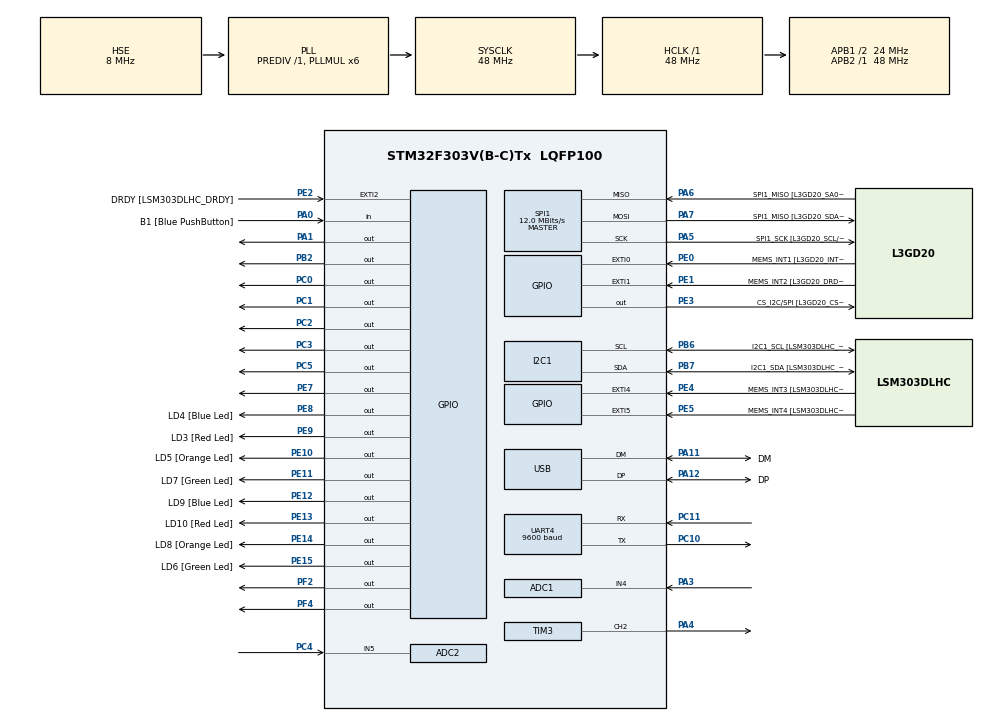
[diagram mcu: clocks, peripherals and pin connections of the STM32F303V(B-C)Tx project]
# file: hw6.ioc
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ADC1.Channel-0\#ChannelRegularConversion=ADC_CHANNEL_4
ADC1.NbrOfConversionFlag=1
ADC1.Offset-0\#ChannelRegularConversion=0
ADC1.OffsetNumber-0\#ChannelRegularConversion=ADC_OFFSET_NONE
ADC1.Rank-0\#ChannelRegularConversion=1
ADC1.SamplingTime-0\#ChannelRegularConversion=ADC_SAMPLETIME_601CYCLES_5
ADC1.SamplingTimeOPAMP-0\#ChannelRegularConversion=ADC_SAMPLETIME_19CYCLES_5
ADC1.master=1
ADC2.Channel-0\#ChannelRegularConversion=ADC_CHANNEL_5
ADC2.NbrOfConversionFlag=1
ADC2.Offset-0\#ChannelRegularConversion=0
ADC2.OffsetNumber-0\#ChannelRegularConversion=ADC_OFFSET_NONE
ADC2.Rank-0\#ChannelRegularConversion=1
ADC2.Resolution=ADC_RESOLUTION_10B
ADC2.SamplingTime-0\#ChannelRegularConversion=ADC_SAMPLETIME_601CYCLES_5
ADC2.SamplingTimeOPAMP-0\#ChannelRegularConversion=ADC_SAMPLETIME_19CYCLES_5
I2C1.Timing=0x2000090E
I2C1.Timing-I2C=0x2000090E
Mcu.Family=STM32F3
Mcu.Name=STM32F303V(B-C)Tx
Mcu.Package=LQFP100
NVIC.ADC1_2_IRQn=true\:0\:0\:false\:false\:true\:true\:true\:true
NVIC.PriorityGroup=NVIC_PRIORITYGROUP_0
NVIC.TIM2_IRQn=true\:0\:0\:false\:false\:true\:true\:true\:true
NVIC.UART4_IRQn=true\:0\:0\:false\:false\:true\:true\:true\:true
PA0.GPIO_Label=B1 [Blue PushButton]
PA0.Signal=GPIO_Input
PA1.Signal=GPIO_Output
PA11.GPIO_Label=DM
PA11.Mode=Device
PA11.Signal=USB_DM
PA12.GPIO_Label=DP
PA12.Mode=Device
PA12.Signal=USB_DP
PA13.GPIO_Label=SWDIO
PA13.Mode=Serial_Wire
PA13.Signal=SYS_JTMS-SWDIO
PA14.GPIO_Label=SWCLK
PA14.Mode=Serial_Wire
PA14.Signal=SYS_JTCK-SWCLK
PA3.Mode=IN4-Single-Ended
PA3.Signal=ADC1_IN4
PA4.Signal=S_TIM3_CH2
PA5.GPIO_Label=SPI1_SCK [L3GD20_SCL/SPC]
PA5.Mode=Full_Duplex_Master
PA5.Signal=SPI1_SCK
PA6.GPIO_Label=SPI1_MISO [L3GD20_SA0/SDO]
PA6.Mode=Full_Duplex_Master
PA6.Signal=SPI1_MISO
PA7.GPIO_Label=SPI1_MISO [L3GD20_SDA/SDI/SDO]
PA7.Mode=Full_Duplex_Master
PA7.Signal=SPI1_MOSI
PB2.Signal=GPIO_Output
PB3.GPIO_Label=SWO
PB3.Signal=SYS_JTDO-TRACESWO
PB6.GPIO_Label=I2C1_SCL [LSM303DLHC_SCL]
PB6.GPIO_Pu=GPIO_PULLUP
PB6.Mode=I2C
PB6.Signal=I2C1_SCL
PB7.GPIO_Label=I2C1_SDA [LSM303DLHC_SDA]
PB7.GPIO_Pu=GPIO_PULLUP
PB7.Mode=I2C
PB7.Signal=I2C1_SDA
PC0.Signal=GPIO_Output
PC1.Signal=GPIO_Output
PC10.Mode=Asynchronous
PC10.Signal=UART4_TX
PC11.Mode=Asynchronous
PC11.Signal=UART4_RX
PC14-OSC32_IN.GPIO_Label=OSC32_IN
PC14-OSC32_IN.Signal=RCC_OSC32_IN
PC15-OSC32_OUT.GPIO_Label=OSC32_OUT
PC15-OSC32_OUT.Signal=RCC_OSC32_OUT
PC2.Signal=GPIO_Output
PC3.Signal=GPIO_Output
PC4.Mode=IN5-Single-Ended
PC4.Signal=ADC2_IN5
PC5.Signal=GPIO_Output
PE0.GPIO_Label=MEMS_INT1 [L3GD20_INT1]
PE0.GPIO_ModeDefaultEXTI=GPIO_MODE_EVT_RISING
PE0.Signal=GPXTI0
PE1.GPIO_Label=MEMS_INT2 [L3GD20_DRDY/INT2]
PE1.GPIO_ModeDefaultEXTI=GPIO_MODE_EVT_RISING
PE1.Signal=GPXTI1
PE10.GPIO_Label=LD5 [Orange Led]
PE10.Signal=GPIO_Output
PE11.GPIO_Label=LD7 [Green Led]
PE11.Signal=GPIO_Output
PE12.GPIO_Label=LD9 [Blue Led]
PE12.Signal=GPIO_Output
PE13.GPIO_Label=LD10 [Red Led]
PE13.Signal=GPIO_Output
PE14.GPIO_Label=LD8 [Orange Led]
PE14.Signal=GPIO_Output
PE15.GPIO_Label=LD6 [Green Led]
PE15.Signal=GPIO_Output
PE2.GPIO_Label=DRDY [LSM303DLHC_DRDY]
PE2.GPIO_ModeDefaultEXTI=GPIO_MODE_EVT_RISING
PE2.Signal=GPXTI2
PE3.GPIO_Label=CS_I2C/SPI [L3GD20_CS_I2C/SPI]
PE3.Signal=GPIO_Output
PE4.GPIO_Label=MEMS_INT3 [LSM303DLHC_INT1]
PE4.GPIO_ModeDefaultEXTI=GPIO_MODE_EVT_RISING
PE4.Signal=GPXTI4
PE5.GPIO_Label=MEMS_INT4 [LSM303DLHC_INT2]
PE5.GPIO_ModeDefaultEXTI=GPIO_MODE_EVT_RISING
PE5.Signal=GPXTI5
PE7.Signal=GPIO_Output
PE8.GPIO_Label=LD4 [Blue Led]
PE8.Signal=GPIO_Output
PE9.GPIO_Label=LD3 [Red Led]
PE9.Signal=GPIO_Output
PF0-OSC_IN.GPIO_Label=OSC_IN
PF0-OSC_IN.Mode=HSE-External-Clock-Source
PF0-OSC_IN.Signal=RCC_OSC_IN
PF1-OSC_OUT.GPIO_Label=OSC_OUT
PF1-OSC_OUT.Signal=RCC_OSC_OUT
PF2.Signal=GPIO_Output
PF4.Signal=GPIO_Output
ProjectManager.HeapSize=0x200
ProjectManager.StackSize=0x400
ProjectManager.TargetToolchain=STM32CubeIDE
RCC.AHBFreq_Value=48000000
RCC.APB1CLKDivider=RCC_HCLK_DIV2
RCC.APB1Freq_Value=24000000
RCC.APB1TimFreq_Value=48000000
RCC.APB2Freq_Value=48000000
RCC.APB2TimFreq_Value=48000000
RCC.CortexFreq_Value=48000000
RCC.HCLKFreq_Value=48000000
RCC.HSE_VALUE=8000000
RCC.HSI_VALUE=8000000
RCC.LSE_VALUE=32768
RCC.PLLMUL=RCC_PLL_MUL6
RCC.SYSCLKFreq_VALUE=48000000
RCC.SYSCLKSourceVirtual=RCC_SYSCLKSOURCE_PLLCLK
RCC.USBFreq_Value=48000000
SH.S_TIM3_CH2.0=TIM3_CH2,PWM Generation2 CH2
SPI1.BaudRatePrescaler=SPI_BAUDRATEPRESCALER_4
SPI1.BaudRatePrescaler-Full_Duplex_Master=SPI_BAUDRATEPRESCALER_2
SPI1.CalculateBaudRate=12.0 MBits/s
SPI1.CalculateBaudRate-Full_Duplex_Master=24.0 MBits/s
SPI1.Direction=SPI_DIRECTION_2LINES
SPI1.Mode=SPI_MODE_MASTER
SPI1.Mode-Full_Duplex_Master=SPI_MODE_MASTER
SPI1.VirtualType=VM_MASTER
TIM2.Period=99
TIM2.Prescaler=199
TIM3.Channel-PWM\ Generation2\ CH2=TIM_CHANNEL_2
UART4.BaudRate=9600
VP_TIM2_VS_ClockSourceINT.Mode=Internal
VP_TIM3_VS_ClockSourceINT.Mode=Internal
board=STM32F3DISCOVERY

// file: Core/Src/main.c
/* USER CODE BEGIN Header */
/**
  ******************************************************************************
  * @file           : main.c
  * @brief          : Main program body
  ******************************************************************************
  * @attention
  *
  * Copyright (c) 2023 STMicroelectronics.
  * All rights reserved.
  *
  * This software is licensed under terms that can be found in the LICENSE file
  * in the root directory of this software component.
  * If no LICENSE file comes with this software, it is provided AS-IS.
  *
  ******************************************************************************
  */
/* USER CODE END Header */
#include "main.h"

/* USER CODE BEGIN Includes */
#include "string.h"
#include "math.h"
/* USER CODE END Includes */

ADC_HandleTypeDef hadc1;
ADC_HandleTypeDef hadc2;

I2C_HandleTypeDef hi2c1;

SPI_HandleTypeDef hspi1;

TIM_HandleTypeDef htim2;
TIM_HandleTypeDef htim3;

UART_HandleTypeDef huart4;

PCD_HandleTypeDef hpcd_USB_FS;

/* USER CODE BEGIN PV */
#define NUM_SAMPLES 10
int ms=0;
int sendMS=1000;
int count=0;
uint8_t keyboard_char;

int counter = 0;
unsigned char Rx_data[100];
uint8_t rxBuffer[1] = {0};

uint16_t note_frequency;
TIM_HandleTypeDef *buzzerPwmTimer;
uint32_t buzzerPwmChannel;
uint16_t v2=5;

uint16_t ldr_value = 0;
float lm35_value = 0.0;
int min_ldr=0;
int  max_ldr=4095;
int ldr_show=0;
int lm35_show=0;

int ldr_treshold;
int lm_treshold;

int kind;
int freqMin=900;
int freqMax;
int musicTime=3;
double PI=3.14;
int song=0;
int value;
double amplitude;
double sampling_rate = 100.0;
int temp=3;
double phase = 0.0;
double time_step;
int start=0;
int samplesldr[NUM_SAMPLES];
int sampcountldr=0;
int sampleslm[NUM_SAMPLES];
int sampcountlm=0;
/* USER CODE END PV */

void SystemClock_Config(void);
static void MX_GPIO_Init(void);
static void MX_I2C1_Init(void);
static void MX_SPI1_Init(void);
static void MX_USB_PCD_Init(void);
static void MX_TIM2_Init(void);
static void MX_UART4_Init(void);
static void MX_ADC1_Init(void);
static void MX_ADC2_Init(void);
static void MX_TIM3_Init(void);

/* USER CODE BEGIN 0 */

//buzzerChangeTone(0, 0); for stop playing when a condition meets

int normalize(int value, int* samples) {
    int sum = 0;
    int i;

    for (i = NUM_SAMPLES - 1; i > 0; i--) {
        samples[i] = samples[i - 1];
        sum += samples[i];
    }
    samples[0] = value;
    sum += value;
    int avg = sum / NUM_SAMPLES;
    int variance = 0;
    for (i = 0; i < NUM_SAMPLES; i++) {
        variance += (samples[i] - avg) * (samples[i] - avg);
    }
    int stddev = sqrt(variance / NUM_SAMPLES);
    if (abs(value - avg) > stddev) {
        return avg;
    }
    return value;
}
void buzzerInit() {
    buzzerPwmTimer = &htim3;
    buzzerPwmChannel = TIM_CHANNEL_2;
    HAL_TIM_PWM_Start(buzzerPwmTimer, buzzerPwmChannel);
}

void buzzerChangeTone(uint16_t freq, uint16_t volume) {
    if (freq == 0 || freq > 20000) {
        __HAL_TIM_SET_COMPARE(buzzerPwmTimer, buzzerPwmChannel, 0);
    } else {
        const uint32_t internalClockFreq = HAL_RCC_GetSysClockFreq();
        const uint32_t prescaler = 1 + internalClockFreq / freq / 60000;
        const uint32_t timerClock = internalClockFreq / prescaler;
        const uint32_t periodCycles = timerClock / freq;
        const uint32_t pulseWidth = volume * periodCycles / 1000 / 2;

        buzzerPwmTimer->Instance->PSC = prescaler - 1;
        buzzerPwmTimer->Instance->ARR = periodCycles - 1;
        buzzerPwmTimer->Instance->EGR = TIM_EGR_UG;

        __HAL_TIM_SET_COMPARE(buzzerPwmTimer, buzzerPwmChannel, pulseWidth);
    }
}

void decoder_num(int i){
	if(i>=10)
		i=0;
	int x1=i&1;
	int x2=i&2;
	int x3=i&4;
	int x4=i&8;
	if(x1>0)
			x1=1;
	if(x2>0)
			x2=1;
	if(x3>0)
			x3=1;
	if(x4>0)
			x4=1;

	HAL_GPIO_WritePin(GPIOC, GPIO_PIN_0, x1);
	HAL_GPIO_WritePin(GPIOC, GPIO_PIN_3, x2);
	HAL_GPIO_WritePin(GPIOC, GPIO_PIN_1, x3);
	HAL_GPIO_WritePin(GPIOC, GPIO_PIN_2, x4);
}

void HAL_TIM_PeriodElapsedCallback(TIM_HandleTypeDef *htim){
	 if(htim->Instance == TIM2){  // each 0.125 ms one interrupt
		 ms++;
		 if((ms%(8*sendMS))==0){
			 HAL_ADC_Start_IT(&hadc1);  //ldr
			 HAL_ADC_Start_IT(&hadc2);  //lm35
		 }

		 switch(ms%4){
		 			case 0:
		 				HAL_GPIO_WritePin(GPIOC, GPIO_PIN_5,1);//d4
		 		  		HAL_GPIO_WritePin(GPIOF, GPIO_PIN_2, 0);
		 		  		HAL_GPIO_WritePin(GPIOA, GPIO_PIN_1, 0);
		 		  		HAL_GPIO_WritePin(GPIOF, GPIO_PIN_4, 0);
		 		  		decoder_num(ldr_show%10);

		 		  		break;
		 			case 1:
		 				HAL_GPIO_WritePin(GPIOF, GPIO_PIN_2, 1);//d3
		 				HAL_GPIO_WritePin(GPIOC, GPIO_PIN_5, 0);
		 				HAL_GPIO_WritePin(GPIOA, GPIO_PIN_1, 0);
		 				HAL_GPIO_WritePin(GPIOF, GPIO_PIN_4, 0);
		 				decoder_num(ldr_show/10);

		 				break;
		 			case 2:
		 				HAL_GPIO_WritePin(GPIOC, GPIO_PIN_5, 0);
		 			 	HAL_GPIO_WritePin(GPIOF, GPIO_PIN_4, 0);
		 			 	HAL_GPIO_WritePin(GPIOA, GPIO_PIN_1, 1); //d2
		 			 	HAL_GPIO_WritePin(GPIOF, GPIO_PIN_2, 0);
		 			 	decoder_num(lm35_show%10);

		 				break;
		 			case 3:
		 				HAL_GPIO_WritePin(GPIOC, GPIO_PIN_5, 0);
		 				HAL_GPIO_WritePin(GPIOF, GPIO_PIN_2, 0);
		 				HAL_GPIO_WritePin(GPIOA, GPIO_PIN_1, 0);
		 				HAL_GPIO_WritePin(GPIOF, GPIO_PIN_4, 1); //d1
		 				decoder_num(lm35_show/10);

		 				break;
		 			}
		 if((ms%100)==0){
		 if(song==1){
			 if(count<(musicTime*100)){
				 count++;
			 }else {
				song=0;
				count=0;
				HAL_GPIO_WritePin(GPIOE, GPIO_PIN_8, 0);
				HAL_GPIO_WritePin(GPIOE, GPIO_PIN_9, 0);
				HAL_GPIO_WritePin(GPIOE, GPIO_PIN_10, 0);
			}

		 }
		}
		 if(ms%60==0){
			 if(song==1){
				 buzzerChangeTone(note_frequency, v2);
			 }else{
				 buzzerChangeTone(0,0);
			 }

		 }

		if(ms%100==0){
			if(kind==1){
			if(start==1){
										 			 HAL_GPIO_WritePin(GPIOE, GPIO_PIN_10, 1);
										 			 note_frequency=freqMin;
										 			 start=0;

										 		}
										 		else{
										 			if(temp%30==0){
										 				if(note_frequency==freqMax)
										 					note_frequency=freqMin;
										 				else {
										 					note_frequency=freqMax;
										 				}

										 			}
										 			temp++;

										 		}
			}else if(kind==3){  //sin
				 if(start==1){
					 HAL_GPIO_WritePin(GPIOE, GPIO_PIN_9, 1);
				 		note_frequency=freqMin;
				 		 start=0;
				 		}else {

				 			note_frequency=190 * sin(2*PI/3800*ms)+300;

				 		}

			 	}
		}

		if(ms%2000==0){
			 if(kind==2){  //triangle
								 if(start==1){
									 HAL_GPIO_WritePin(GPIOE, GPIO_PIN_8, 1);
									 note_frequency=freqMin;
									 start=0;
								 }else {
									 note_frequency+=100;
									 if(note_frequency>=freqMax)
											note_frequency=freqMin;

								}
							 	}

		}

	}

}
void HAL_ADC_ConvCpltCallback(ADC_HandleTypeDef *hadc){
	if(hadc->Instance==ADC1){
		ldr_value=HAL_ADC_GetValue(&hadc1);
		ldr_show=(ldr_value - min_ldr)*99 / (max_ldr - min_ldr);
		sampcountldr++;
		samplesldr[sampcountldr]=ldr_show;
		if(sampcountldr>NUM_SAMPLES){
			sampcountldr=0;
		}
		ldr_show=normalize(ldr_show, samplesldr);
		  uint8_t pack_ldr[8];
		  pack_ldr[0]=0xAA;
		  pack_ldr[1]=0x01;
		  pack_ldr[2]=0x02;
		  pack_ldr[3]=0x02;
		  uint8_t ldr_uint=(uint8_t)ldr_show;
		  int length=sizeof(ldr_uint);
		  pack_ldr[4]=0x21;
		  pack_ldr[5]=ldr_uint;
		  pack_ldr[7]=0x00;
		  HAL_UART_Transmit(&huart4, pack_ldr, sizeof(pack_ldr), HAL_MAX_DELAY);

	}
	if(hadc->Instance==ADC2){  //lm35
		lm35_value=HAL_ADC_GetValue(&hadc2);
		float Voltage_mv = lm35_value * 3300 / 1023;
		lm35_show = (Voltage_mv / 10);

		sampcountlm++;
				sampleslm[sampcountlm]=lm35_show;
				if(sampcountlm>NUM_SAMPLES){
					sampcountlm=0;
				}
				lm35_show=normalize(lm35_show, sampleslm);

		uint8_t pack_lm[8];
	    pack_lm[0]=0xAA;
	    pack_lm[1]=0x01;
	    pack_lm[2]=0x02;
	    pack_lm[3]=0x02;
	    uint8_t lm_uint=(uint8_t)lm35_show;
	    int length=sizeof(lm_uint);
	    pack_lm[4]=0x22;
	    pack_lm[5]=lm_uint;
		pack_lm[7]=0x00;
		HAL_UART_Transmit(&huart4, pack_lm, sizeof(pack_lm), HAL_MAX_DELAY);
//
//		char buffer[50];
//		sprintf(buffer, "%d\r\n", lm35_value); // Convert float to string
//		HAL_UART_Transmit(&huart4, (uint8_t*)buffer, strlen(buffer), 1000);

	}
}
void HAL_UART_RxCpltCallback(UART_HandleTypeDef *huart)
{
	if (huart->Instance == UART4){
//		if(note_frequency!=0){
//			    	buzzerChangeTone(note_frequency, v2);
//			    }

		Rx_data[counter] = rxBuffer[0];
			if (Rx_data[counter] == 0xAA) {
				Rx_data[counter]='\0';
				counter = 0;
				choosePacket();
				Rx_data[counter] = rxBuffer[0];
			} else {
				counter++;
			}
			HAL_UART_Receive_IT(&huart4, rxBuffer, 1);
	}

}

void choosePacket(){
	switch(Rx_data[3]){
	case 0x41:
		lm_treshold=(int)Rx_data[4];
		//buzer bips if lm>tre
//		if(lm_treshold>0){
//					HAL_GPIO_TogglePin(GPIOE, GPIO_PIN_8);
//				}
//		if(lm35_show>0){
//							HAL_GPIO_TogglePin(GPIOE, GPIO_PIN_9);
//						}
		if(lm35_show>=lm_treshold){
			song=1;
			start=1;
			count=0;
		}

		break;
	case 0x42:
		ldr_treshold=(int)Rx_data[4];
//		if(ldr_treshold>0){
//					HAL_GPIO_TogglePin(GPIOE, GPIO_PIN_11);
//		}
//		if(ldr_show>0){
//							HAL_GPIO_TogglePin(GPIOE, GPIO_PIN_12);
//				}
		if(ldr_show>=ldr_treshold){
			song=1;
			start=1;
			count=0;
		}
		break;
	case 0x11:
		switch(Rx_data[4]){
			case 0x31:kind=1;// square
				break;
			case 0x32:
				kind=2;// triangle
				break;
			case 0x33:
					kind=3;// sin
					break;

		}
		freqMin=(int)Rx_data[5];
		freqMax=(int)Rx_data[6];
		break;
	}
}

/* USER CODE END 0 */

int main(void)
{

  /* MCU Configuration--------------------------------------------------------*/

  /* Reset of all peripherals, Initializes the Flash interface and the Systick. */
  HAL_Init();

  /* Configure the system clock */
  SystemClock_Config();

  /* Initialize all configured peripherals */
  MX_GPIO_Init();
  MX_I2C1_Init();
  MX_SPI1_Init();
  MX_USB_PCD_Init();
  MX_TIM2_Init();
  MX_UART4_Init();
  MX_ADC1_Init();
  MX_ADC2_Init();
  MX_TIM3_Init();
  /* USER CODE BEGIN 2 */
  buzzerInit();
  HAL_TIM_Base_Start_IT(&htim2);
  HAL_TIM_Base_Start_IT(&htim3);
  HAL_UART_Receive_IT(&huart4, rxBuffer, 1); // enable UART interrupt
 // HAL_UART_Receive_IT(&huart4, &keyboard_char,sizeof(keyboard_char)); // enable UART interrupt again

  /* USER CODE END 2 */

  /* Infinite loop */
  while (1)
  {

  }
}

void SystemClock_Config(void)
{
  RCC_OscInitTypeDef RCC_OscInitStruct = {0};
  RCC_ClkInitTypeDef RCC_ClkInitStruct = {0};
  RCC_PeriphCLKInitTypeDef PeriphClkInit = {0};

  /** Initializes the RCC Oscillators according to the specified parameters
  * in the RCC_OscInitTypeDef structure.
  */
  RCC_OscInitStruct.OscillatorType = RCC_OSCILLATORTYPE_HSI|RCC_OSCILLATORTYPE_HSE;
  RCC_OscInitStruct.HSEState = RCC_HSE_BYPASS;
  RCC_OscInitStruct.HSEPredivValue = RCC_HSE_PREDIV_DIV1;
  RCC_OscInitStruct.HSIState = RCC_HSI_ON;
  RCC_OscInitStruct.HSICalibrationValue = RCC_HSICALIBRATION_DEFAULT;
  RCC_OscInitStruct.PLL.PLLState = RCC_PLL_ON;
  RCC_OscInitStruct.PLL.PLLSource = RCC_PLLSOURCE_HSE;
  RCC_OscInitStruct.PLL.PLLMUL = RCC_PLL_MUL6;
  if (HAL_RCC_OscConfig(&RCC_OscInitStruct) != HAL_OK)
  {
    Error_Handler();
  }

  /** Initializes the CPU, AHB and APB buses clocks
  */
  RCC_ClkInitStruct.ClockType = RCC_CLOCKTYPE_HCLK|RCC_CLOCKTYPE_SYSCLK
                              |RCC_CLOCKTYPE_PCLK1|RCC_CLOCKTYPE_PCLK2;
  RCC_ClkInitStruct.SYSCLKSource = RCC_SYSCLKSOURCE_PLLCLK;
  RCC_ClkInitStruct.AHBCLKDivider = RCC_SYSCLK_DIV1;
  RCC_ClkInitStruct.APB1CLKDivider = RCC_HCLK_DIV2;
  RCC_ClkInitStruct.APB2CLKDivider = RCC_HCLK_DIV1;

  if (HAL_RCC_ClockConfig(&RCC_ClkInitStruct, FLASH_LATENCY_1) != HAL_OK)
  {
    Error_Handler();
  }
  PeriphClkInit.PeriphClockSelection = RCC_PERIPHCLK_USB|RCC_PERIPHCLK_UART4
                              |RCC_PERIPHCLK_I2C1|RCC_PERIPHCLK_ADC12;
  PeriphClkInit.Uart4ClockSelection = RCC_UART4CLKSOURCE_PCLK1;
  PeriphClkInit.Adc12ClockSelection = RCC_ADC12PLLCLK_DIV1;
  PeriphClkInit.I2c1ClockSelection = RCC_I2C1CLKSOURCE_HSI;
  PeriphClkInit.USBClockSelection = RCC_USBCLKSOURCE_PLL;
  if (HAL_RCCEx_PeriphCLKConfig(&PeriphClkInit) != HAL_OK)
  {
    Error_Handler();
  }
}

static void MX_ADC1_Init(void)
{

  ADC_MultiModeTypeDef multimode = {0};
  ADC_ChannelConfTypeDef sConfig = {0};

  /** Common config
  */
  hadc1.Instance = ADC1;
  hadc1.Init.ClockPrescaler = ADC_CLOCK_ASYNC_DIV1;
  hadc1.Init.Resolution = ADC_RESOLUTION_12B;
  hadc1.Init.ScanConvMode = ADC_SCAN_DISABLE;
  hadc1.Init.ContinuousConvMode = DISABLE;
  hadc1.Init.DiscontinuousConvMode = DISABLE;
  hadc1.Init.ExternalTrigConvEdge = ADC_EXTERNALTRIGCONVEDGE_NONE;
  hadc1.Init.ExternalTrigConv = ADC_SOFTWARE_START;
  hadc1.Init.DataAlign = ADC_DATAALIGN_RIGHT;
  hadc1.Init.NbrOfConversion = 1;
  hadc1.Init.DMAContinuousRequests = DISABLE;
  hadc1.Init.EOCSelection = ADC_EOC_SINGLE_CONV;
  hadc1.Init.LowPowerAutoWait = DISABLE;
  hadc1.Init.Overrun = ADC_OVR_DATA_OVERWRITTEN;
  if (HAL_ADC_Init(&hadc1) != HAL_OK)
  {
    Error_Handler();
  }

  /** Configure the ADC multi-mode
  */
  multimode.Mode = ADC_MODE_INDEPENDENT;
  if (HAL_ADCEx_MultiModeConfigChannel(&hadc1, &multimode) != HAL_OK)
  {
    Error_Handler();
  }

  /** Configure Regular Channel
  */
  sConfig.Channel = ADC_CHANNEL_4;
  sConfig.Rank = ADC_REGULAR_RANK_1;
  sConfig.SingleDiff = ADC_SINGLE_ENDED;
  sConfig.SamplingTime = ADC_SAMPLETIME_601CYCLES_5;
  sConfig.OffsetNumber = ADC_OFFSET_NONE;
  sConfig.Offset = 0;
  if (HAL_ADC_ConfigChannel(&hadc1, &sConfig) != HAL_OK)
  {
    Error_Handler();
  }

}

static void MX_ADC2_Init(void)
{

  ADC_ChannelConfTypeDef sConfig = {0};

  /** Common config
  */
  hadc2.Instance = ADC2;
  hadc2.Init.ClockPrescaler = ADC_CLOCK_ASYNC_DIV1;
  hadc2.Init.Resolution = ADC_RESOLUTION_10B;
  hadc2.Init.ScanConvMode = ADC_SCAN_DISABLE;
  hadc2.Init.ContinuousConvMode = DISABLE;
  hadc2.Init.DiscontinuousConvMode = DISABLE;
  hadc2.Init.ExternalTrigConvEdge = ADC_EXTERNALTRIGCONVEDGE_NONE;
  hadc2.Init.ExternalTrigConv = ADC_SOFTWARE_START;
  hadc2.Init.DataAlign = ADC_DATAALIGN_RIGHT;
  hadc2.Init.NbrOfConversion = 1;
  hadc2.Init.DMAContinuousRequests = DISABLE;
  hadc2.Init.EOCSelection = ADC_EOC_SINGLE_CONV;
  hadc2.Init.LowPowerAutoWait = DISABLE;
  hadc2.Init.Overrun = ADC_OVR_DATA_OVERWRITTEN;
  if (HAL_ADC_Init(&hadc2) != HAL_OK)
  {
    Error_Handler();
  }

  /** Configure Regular Channel
  */
  sConfig.Channel = ADC_CHANNEL_5;
  sConfig.Rank = ADC_REGULAR_RANK_1;
  sConfig.SingleDiff = ADC_SINGLE_ENDED;
  sConfig.SamplingTime = ADC_SAMPLETIME_601CYCLES_5;
  sConfig.OffsetNumber = ADC_OFFSET_NONE;
  sConfig.Offset = 0;
  if (HAL_ADC_ConfigChannel(&hadc2, &sConfig) != HAL_OK)
  {
    Error_Handler();
  }

}

static void MX_I2C1_Init(void)
{

  hi2c1.Instance = I2C1;
  hi2c1.Init.Timing = 0x2000090E;
  hi2c1.Init.OwnAddress1 = 0;
  hi2c1.Init.AddressingMode = I2C_ADDRESSINGMODE_7BIT;
  hi2c1.Init.DualAddressMode = I2C_DUALADDRESS_DISABLE;
  hi2c1.Init.OwnAddress2 = 0;
  hi2c1.Init.OwnAddress2Masks = I2C_OA2_NOMASK;
  hi2c1.Init.GeneralCallMode = I2C_GENERALCALL_DISABLE;
  hi2c1.Init.NoStretchMode = I2C_NOSTRETCH_DISABLE;
  if (HAL_I2C_Init(&hi2c1) != HAL_OK)
  {
    Error_Handler();
  }

  /** Configure Analogue filter
  */
  if (HAL_I2CEx_ConfigAnalogFilter(&hi2c1, I2C_ANALOGFILTER_ENABLE) != HAL_OK)
  {
    Error_Handler();
  }

  /** Configure Digital filter
  */
  if (HAL_I2CEx_ConfigDigitalFilter(&hi2c1, 0) != HAL_OK)
  {
    Error_Handler();
  }

}

static void MX_SPI1_Init(void)
{

  /* SPI1 parameter configuration*/
  hspi1.Instance = SPI1;
  hspi1.Init.Mode = SPI_MODE_MASTER;
  hspi1.Init.Direction = SPI_DIRECTION_2LINES;
  hspi1.Init.DataSize = SPI_DATASIZE_4BIT;
  hspi1.Init.CLKPolarity = SPI_POLARITY_LOW;
  hspi1.Init.CLKPhase = SPI_PHASE_1EDGE;
  hspi1.Init.NSS = SPI_NSS_SOFT;
  hspi1.Init.BaudRatePrescaler = SPI_BAUDRATEPRESCALER_4;
  hspi1.Init.FirstBit = SPI_FIRSTBIT_MSB;
  hspi1.Init.TIMode = SPI_TIMODE_DISABLE;
  hspi1.Init.CRCCalculation = SPI_CRCCALCULATION_DISABLE;
  hspi1.Init.CRCPolynomial = 7;
  hspi1.Init.CRCLength = SPI_CRC_LENGTH_DATASIZE;
  hspi1.Init.NSSPMode = SPI_NSS_PULSE_ENABLE;
  if (HAL_SPI_Init(&hspi1) != HAL_OK)
  {
    Error_Handler();
  }

}

static void MX_TIM2_Init(void)
{

  TIM_ClockConfigTypeDef sClockSourceConfig = {0};
  TIM_MasterConfigTypeDef sMasterConfig = {0};

  htim2.Instance = TIM2;
  htim2.Init.Prescaler = 199;
  htim2.Init.CounterMode = TIM_COUNTERMODE_UP;
  htim2.Init.Period = 99;
  htim2.Init.ClockDivision = TIM_CLOCKDIVISION_DIV1;
  htim2.Init.AutoReloadPreload = TIM_AUTORELOAD_PRELOAD_DISABLE;
  if (HAL_TIM_Base_Init(&htim2) != HAL_OK)
  {
    Error_Handler();
  }
  sClockSourceConfig.ClockSource = TIM_CLOCKSOURCE_INTERNAL;
  if (HAL_TIM_ConfigClockSource(&htim2, &sClockSourceConfig) != HAL_OK)
  {
    Error_Handler();
  }
  sMasterConfig.MasterOutputTrigger = TIM_TRGO_RESET;
  sMasterConfig.MasterSlaveMode = TIM_MASTERSLAVEMODE_DISABLE;
  if (HAL_TIMEx_MasterConfigSynchronization(&htim2, &sMasterConfig) != HAL_OK)
  {
    Error_Handler();
  }

}

static void MX_TIM3_Init(void)
{

  TIM_ClockConfigTypeDef sClockSourceConfig = {0};
  TIM_MasterConfigTypeDef sMasterConfig = {0};
  TIM_OC_InitTypeDef sConfigOC = {0};

  htim3.Instance = TIM3;
  htim3.Init.Prescaler = 0;
  htim3.Init.CounterMode = TIM_COUNTERMODE_UP;
  htim3.Init.Period = 65535;
  htim3.Init.ClockDivision = TIM_CLOCKDIVISION_DIV1;
  htim3.Init.AutoReloadPreload = TIM_AUTORELOAD_PRELOAD_DISABLE;
  if (HAL_TIM_Base_Init(&htim3) != HAL_OK)
  {
    Error_Handler();
  }
  sClockSourceConfig.ClockSource = TIM_CLOCKSOURCE_INTERNAL;
  if (HAL_TIM_ConfigClockSource(&htim3, &sClockSourceConfig) != HAL_OK)
  {
    Error_Handler();
  }
  if (HAL_TIM_PWM_Init(&htim3) != HAL_OK)
  {
    Error_Handler();
  }
  sMasterConfig.MasterOutputTrigger = TIM_TRGO_RESET;
  sMasterConfig.MasterSlaveMode = TIM_MASTERSLAVEMODE_DISABLE;
  if (HAL_TIMEx_MasterConfigSynchronization(&htim3, &sMasterConfig) != HAL_OK)
  {
    Error_Handler();
  }
  sConfigOC.OCMode = TIM_OCMODE_PWM1;
  sConfigOC.Pulse = 0;
  sConfigOC.OCPolarity = TIM_OCPOLARITY_HIGH;
  sConfigOC.OCFastMode = TIM_OCFAST_DISABLE;
  if (HAL_TIM_PWM_ConfigChannel(&htim3, &sConfigOC, TIM_CHANNEL_2) != HAL_OK)
  {
    Error_Handler();
  }
  HAL_TIM_MspPostInit(&htim3);

}

static void MX_UART4_Init(void)
{

  huart4.Instance = UART4;
  huart4.Init.BaudRate = 9600;
  huart4.Init.WordLength = UART_WORDLENGTH_8B;
  huart4.Init.StopBits = UART_STOPBITS_1;
  huart4.Init.Parity = UART_PARITY_NONE;
  huart4.Init.Mode = UART_MODE_TX_RX;
  huart4.Init.HwFlowCtl = UART_HWCONTROL_NONE;
  huart4.Init.OverSampling = UART_OVERSAMPLING_16;
  huart4.Init.OneBitSampling = UART_ONE_BIT_SAMPLE_DISABLE;
  huart4.AdvancedInit.AdvFeatureInit = UART_ADVFEATURE_NO_INIT;
  if (HAL_UART_Init(&huart4) != HAL_OK)
  {
    Error_Handler();
  }

}

static void MX_USB_PCD_Init(void)
{

  hpcd_USB_FS.Instance = USB;
  hpcd_USB_FS.Init.dev_endpoints = 8;
  hpcd_USB_FS.Init.speed = PCD_SPEED_FULL;
  hpcd_USB_FS.Init.phy_itface = PCD_PHY_EMBEDDED;
  hpcd_USB_FS.Init.low_power_enable = DISABLE;
  hpcd_USB_FS.Init.battery_charging_enable = DISABLE;
  if (HAL_PCD_Init(&hpcd_USB_FS) != HAL_OK)
  {
    Error_Handler();
  }

}

static void MX_GPIO_Init(void)
{
  GPIO_InitTypeDef GPIO_InitStruct = {0};

  /* GPIO Ports Clock Enable */
  __HAL_RCC_GPIOE_CLK_ENABLE();
  __HAL_RCC_GPIOC_CLK_ENABLE();
  __HAL_RCC_GPIOF_CLK_ENABLE();
  __HAL_RCC_GPIOA_CLK_ENABLE();
  __HAL_RCC_GPIOB_CLK_ENABLE();

  /*Configure GPIO pin Output Level */
  HAL_GPIO_WritePin(GPIOE, CS_I2C_SPI_Pin|GPIO_PIN_7|LD4_Pin|LD3_Pin
                          |LD5_Pin|LD7_Pin|LD9_Pin|LD10_Pin
                          |LD8_Pin|LD6_Pin, GPIO_PIN_RESET);

  /*Configure GPIO pin Output Level */
  HAL_GPIO_WritePin(GPIOC, GPIO_PIN_0|GPIO_PIN_1|GPIO_PIN_2|GPIO_PIN_3
                          |GPIO_PIN_5, GPIO_PIN_RESET);

  /*Configure GPIO pin Output Level */
  HAL_GPIO_WritePin(GPIOF, GPIO_PIN_2|GPIO_PIN_4, GPIO_PIN_RESET);

  /*Configure GPIO pin Output Level */
  HAL_GPIO_WritePin(GPIOA, GPIO_PIN_1, GPIO_PIN_RESET);

  /*Configure GPIO pin Output Level */
  HAL_GPIO_WritePin(GPIOB, GPIO_PIN_2, GPIO_PIN_RESET);

  /*Configure GPIO pins : DRDY_Pin MEMS_INT3_Pin MEMS_INT4_Pin MEMS_INT1_Pin
                           MEMS_INT2_Pin */
  GPIO_InitStruct.Pin = DRDY_Pin|MEMS_INT3_Pin|MEMS_INT4_Pin|MEMS_INT1_Pin
                          |MEMS_INT2_Pin;
  GPIO_InitStruct.Mode = GPIO_MODE_EVT_RISING;
  GPIO_InitStruct.Pull = GPIO_NOPULL;
  HAL_GPIO_Init(GPIOE, &GPIO_InitStruct);

  /*Configure GPIO pins : CS_I2C_SPI_Pin PE7 LD4_Pin LD3_Pin
                           LD5_Pin LD7_Pin LD9_Pin LD10_Pin
                           LD8_Pin LD6_Pin */
  GPIO_InitStruct.Pin = CS_I2C_SPI_Pin|GPIO_PIN_7|LD4_Pin|LD3_Pin
                          |LD5_Pin|LD7_Pin|LD9_Pin|LD10_Pin
                          |LD8_Pin|LD6_Pin;
  GPIO_InitStruct.Mode = GPIO_MODE_OUTPUT_PP;
  GPIO_InitStruct.Pull = GPIO_NOPULL;
  GPIO_InitStruct.Speed = GPIO_SPEED_FREQ_LOW;
  HAL_GPIO_Init(GPIOE, &GPIO_InitStruct);

  /*Configure GPIO pins : PC0 PC1 PC2 PC3
                           PC5 */
  GPIO_InitStruct.Pin = GPIO_PIN_0|GPIO_PIN_1|GPIO_PIN_2|GPIO_PIN_3
                          |GPIO_PIN_5;
  GPIO_InitStruct.Mode = GPIO_MODE_OUTPUT_PP;
  GPIO_InitStruct.Pull = GPIO_NOPULL;
  GPIO_InitStruct.Speed = GPIO_SPEED_FREQ_LOW;
  HAL_GPIO_Init(GPIOC, &GPIO_InitStruct);

  /*Configure GPIO pins : PF2 PF4 */
  GPIO_InitStruct.Pin = GPIO_PIN_2|GPIO_PIN_4;
  GPIO_InitStruct.Mode = GPIO_MODE_OUTPUT_PP;
  GPIO_InitStruct.Pull = GPIO_NOPULL;
  GPIO_InitStruct.Speed = GPIO_SPEED_FREQ_LOW;
  HAL_GPIO_Init(GPIOF, &GPIO_InitStruct);

  /*Configure GPIO pin : B1_Pin */
  GPIO_InitStruct.Pin = B1_Pin;
  GPIO_InitStruct.Mode = GPIO_MODE_INPUT;
  GPIO_InitStruct.Pull = GPIO_NOPULL;
  HAL_GPIO_Init(B1_GPIO_Port, &GPIO_InitStruct);

  /*Configure GPIO pin : PA1 */
  GPIO_InitStruct.Pin = GPIO_PIN_1;
  GPIO_InitStruct.Mode = GPIO_MODE_OUTPUT_PP;
  GPIO_InitStruct.Pull = GPIO_NOPULL;
  GPIO_InitStruct.Speed = GPIO_SPEED_FREQ_LOW;
  HAL_GPIO_Init(GPIOA, &GPIO_InitStruct);

  /*Configure GPIO pin : PB2 */
  GPIO_InitStruct.Pin = GPIO_PIN_2;
  GPIO_InitStruct.Mode = GPIO_MODE_OUTPUT_PP;
  GPIO_InitStruct.Pull = GPIO_NOPULL;
  GPIO_InitStruct.Speed = GPIO_SPEED_FREQ_LOW;
  HAL_GPIO_Init(GPIOB, &GPIO_InitStruct);

}

void Error_Handler(void)
{
  __disable_irq();
  while (1)
  {
  }
}
